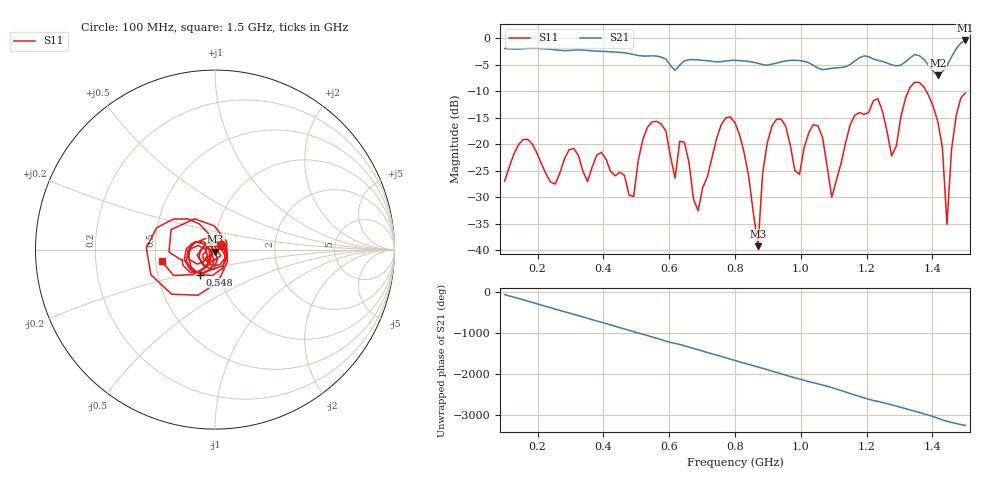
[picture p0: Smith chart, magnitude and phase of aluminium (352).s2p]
! NanoVNA-App
! Date: 2025-09-25 14:58:01
! Start: 100MHz Stop: 1,5GHz Points: 101
! S-Parameter data: F S11 S21 S12 S22
# Hz S RI R 50
!  Frequency  S11_Real  S11_Imag  S21_Real  S21_Imag  S12_Real  S12_Imag  S22_Real  S22_Imag
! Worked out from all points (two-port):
!   101 points, 100 MHz to 1.5 GHz, reference 50 ohm
!   highest |S21| = -0.41 dB at 1.5 GHz (marker M1); lowest = -7.0 dB at 1.416 GHz (marker M2)
!   |S21| within 3 dB of the highest: start of sweep to 565.5 MHz; 1.459 GHz to end of sweep (the widest 2 of 4)
!   lowest |S11| = -39.3 dB at 870 MHz (marker M3), VSWR 1.02, Z = 50.2 - j1.07 ohm
!   |S11| at or under -10 dB: start of sweep to 1.327 GHz; 1.381 GHz to end of sweep
!   S12 and S22 are empty: the file has one direction only
!   S11 on the Smith chart (normalised r, x): 100 MHz: 1.07, +0.06; 548 MHz: 0.82, -0.23; 1.5 GHz: 0.54, -0.08
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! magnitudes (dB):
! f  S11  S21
! 100 MHz  -27.0  -1.9
! 156 MHz  -19.1  -2.0
! 338 MHz  -25.1  -2.2
! 492 MHz  -29.9  -3.1
! 548 MHz  -15.8  -3.3
! 576 MHz  -16.2  -3.5
! 618 MHz  -26.4  -6.1
! 646 MHz  -19.6  -4.3
! 688 MHz  -32.6  -4.1
! 800 MHz  -16.0  -4.1
! 870 MHz  -39.3  -4.7
! 912 MHz  -16.6  -4.9
! 996 MHz  -25.7  -4.2
! 1.038 GHz  -16.3  -5.1
! 1.094 GHz  -30.0  -5.7
! 1.22 GHz  -11.8  -3.9
! 1.276 GHz  -22.2  -5.0
! 1.346 GHz  -8.3  -3.1
! 1.416 GHz  -15.7  -7.0
! 1.444 GHz  -35.2  -5.2
! 1.472 GHz  -14.6  -2.0
! 1.5 GHz  -10.3  -0.4
